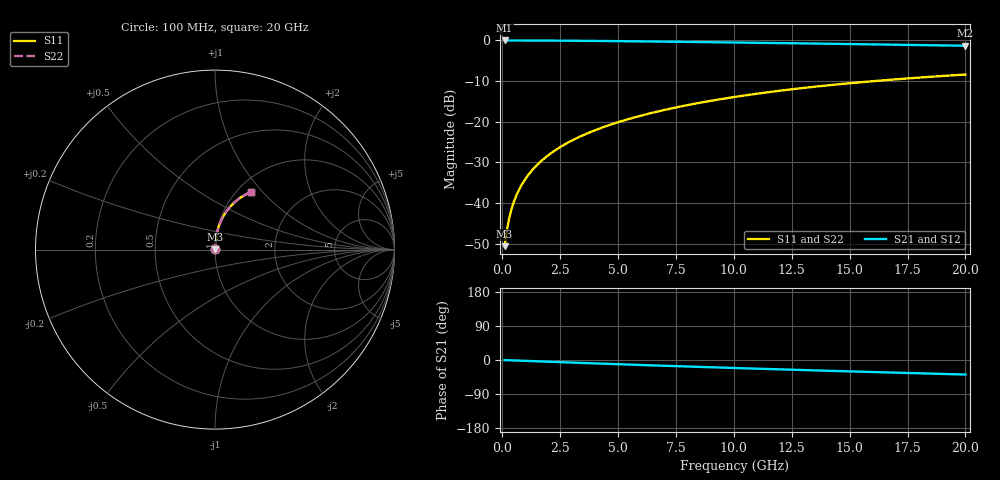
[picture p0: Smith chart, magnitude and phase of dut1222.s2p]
! Touchstone file exported from HFSS 2024.1.0
!  File:  C:/UserFiles/LocalFiles/RDL_TSV_Batchsim/temp_RDL_bottom_1222_1780244177.aedt
!  Generated:  12:18:51 AM Jun  1, 2026
!  Design:  RDL_bottom
!  Project:  temp_RDL_bottom_1222_1780244177
!  Setup:  Setup1
!  Solution:  Sweep
! Variables:
!  dtsv = 10.80580581um
!  hbump = 3um
!  htsv = 79.1um
!  ldown = 516.29um
!  lrdl = 100um
!  p = 40
!  p1 = 54.9um
!  rhole = 1um
!  t = 450um
!  tdown = 4.72um
!  trdl = 3.915915916um
!  wdown = 19.98um
!  wrdl = 20um
# GHz S MA R 50.000000
! Terminal data exported
! Port[1] = RDL1_T1
! Port[2] = RDL1_T2
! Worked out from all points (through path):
!   200 points, 100 MHz to 20 GHz, reference 50 ohm
!   highest |S21| = -0.02 dB at 100 MHz (marker M1); lowest = -1.3 dB at 20 GHz (marker M2)
!   group delay of S21, straight-line fit = 5.29 ps
!   lowest |S11| = -50.6 dB at 100 MHz (marker M3), VSWR 1.01, Z = 50.2 + j0.207 ohm
!   |S11| at or under -10 dB: start of sweep to 16.09 GHz
!   |S22| runs from -50.6 to -8.4 dB; largest |S21 - S12| = 6.3e-15
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0.1  0.002935 44.8  0.9979 -0.2  0.9979 -0.2  0.002935 44.8
! Gamma 0 0 0 0
! Port Impedance 50 0 50 0
0.2  0.004642 62.2  0.9978 -0.5  0.9978 -0.5  0.004642 62.2
0.3  0.006514 69.5  0.9977 -0.7  0.9977 -0.7  0.006514 69.5
0.4  0.008411 73.4  0.9975 -0.9  0.9975 -0.9  0.008411 73.4
0.5  0.01031 75.8  0.9974 -1.2  0.9974 -1.2  0.0103 75.8
0.7  0.01408 78.8  0.9971 -1.6  0.9971 -1.6  0.01408 78.8
0.8  0.01597 79.8  0.9969 -1.9  0.9969 -1.9  0.01597 79.8
1  0.01975 81.2  0.9966 -2.3  0.9966 -2.3  0.01975 81.2
1.2  0.02355 82.2  0.9962 -2.8  0.9962 -2.8  0.02355 82.2
1.4  0.02737 82.8  0.9957 -3.2  0.9957 -3.2  0.02737 82.8
1.7  0.03312 83.5  0.9949 -3.9  0.9949 -3.9  0.03312 83.5
2  0.03891 83.9  0.994 -4.6  0.994 -4.6  0.03891 83.9
2.7  0.05253 84.1  0.9914 -6.1  0.9914 -6.1  0.05253 84.1
3.5  0.06829 83.9  0.9876 -7.9  0.9876 -7.9  0.06829 83.9
4.2  0.08225 83.4  0.9838 -9.4  0.9838 -9.4  0.08225 83.4
5  0.09838 82.6  0.9789 -11.1  0.9789 -11.1  0.09838 82.6
6.8  0.1352 80.4  0.9667 -14.8  0.9667 -14.8  0.1352 80.4
8.4  0.1681 77.9  0.9549 -18.0  0.9549 -18.0  0.1681 77.9
10.1  0.2027 75.1  0.9417 -21.2  0.9417 -21.2  0.2027 75.1
13.4  0.2674 69.2  0.9149 -27.3  0.9149 -27.3  0.2674 69.2
16.7  0.3268 63.4  0.8873 -33.0  0.8873 -33.0  0.3268 63.4
20  0.3799 57.9  0.8593 -38.3  0.8593 -38.3  0.3799 57.9
